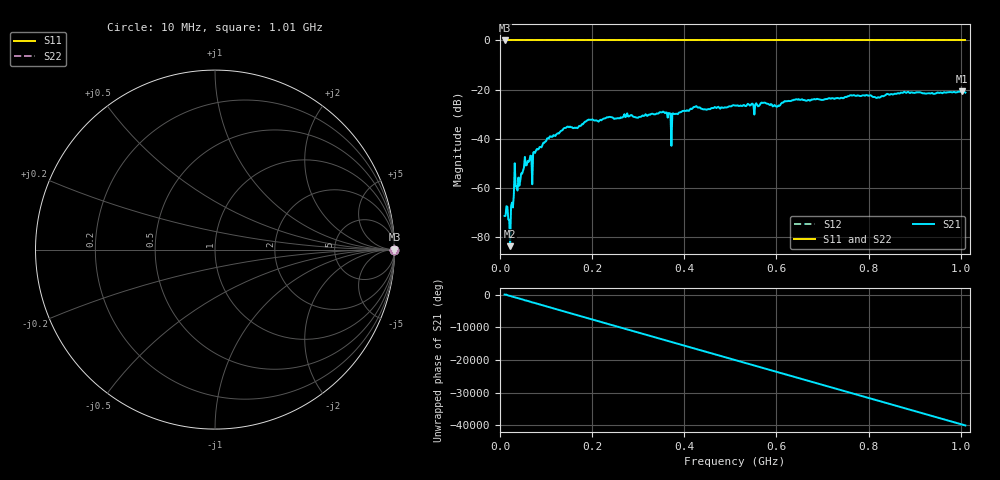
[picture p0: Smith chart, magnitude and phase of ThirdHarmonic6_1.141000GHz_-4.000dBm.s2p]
! 8/16/2025 11:12:32 AM
! C:\ANRITSUVNA\TEMP\TEMP.S2P
! CHANNEL.1
! TR.MEASUREMENT
! RAW.DATA
! RF.CORRECTION.OFF
! AVERAGING.OFF
! IF.BANDWIDTH: 5KHZ
! SWEEPTYPE:  FREQ.SWEEP(Linear)
! Reference Plane Port Info
! PORT:  PORT1  PORT2
! DISTANCE:  0  m  0  m
! TIME:  0  s  0  s
! PHASE.OFFSET:  0  deg.  0  deg.
! LOSS:  0  dB  0  dB
! REF.LOSS:  0  dB  0  dB
! REF.FREQ:  0  Hz  0  Hz
! Power Info
! POWER:  -20  dBm  -20  dBm
! EFF.POWER:  -20  dBm  -20  dBm
! SOURCE.ATTEN:  0  dB  0  dB
! TEST.ATTEN:  0  dB  0  dB
# GHZ S RI R 50.0
! FREQ.GHZ  S11RE  S11IM  S21RE  S21IM  S12RE  S12IM  S22RE  S22IM
!; PortSelection: Port_12
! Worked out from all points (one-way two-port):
!   501 points, 10 MHz to 1.01 GHz, reference 50 ohm
!   highest |S21| = -20.70 dB at 1.002 GHz (marker M1); lowest = -83.7 dB at 22 MHz (marker M2)
!   lowest |S11| = 0.0 dB at 10 MHz (marker M3)
!   |S11| at or under -10 dB: nowhere
!   |S22| runs from 0.0 to 0.0 dB; largest |S21 - S12| = 1.1
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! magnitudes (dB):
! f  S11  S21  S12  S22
! 10 MHz  0.0  -71.4  0.0  0.0
! 22 MHz  0.0  -83.7  0.0  0.0
! 26 MHz  0.0  -65.9  0.0  0.0
! 28 MHz  0.0  -67.9  0.0  0.0
! 36 MHz  0.0  -59.4  0.0  0.0
! 40 MHz  0.0  -55.7  0.0  0.0
! 56 MHz  0.0  -50.8  0.0  0.0
! 64 MHz  0.0  -48.7  0.0  0.0
! 66 MHz  0.0  -46.8  0.0  0.0
! 74 MHz  0.0  -45.3  0.0  0.0
! 76 MHz  0.0  -45.7  0.0  0.0
! 106 MHz  0.0  -39.9  0.0  0.0
! 178 MHz  0.0  -34.0  0.0  0.0
! 344 MHz  0.0  -29.7  0.0  0.0
! 366 MHz  0.0  -29.5  0.0  0.0
! 368 MHz  0.0  -29.6  0.0  0.0
! 424 MHz  0.0  -26.9  0.0  0.0
! 510 MHz  0.0  -26.4  0.0  0.0
! 678 MHz  0.0  -24.1  0.0  0.0
! 844 MHz  0.0  -22.0  0.0  0.0
! 1.002 GHz  0.0  -20.7  0.0  0.0
! 1.01 GHz  0.0  -21.2  0.0  0.0
